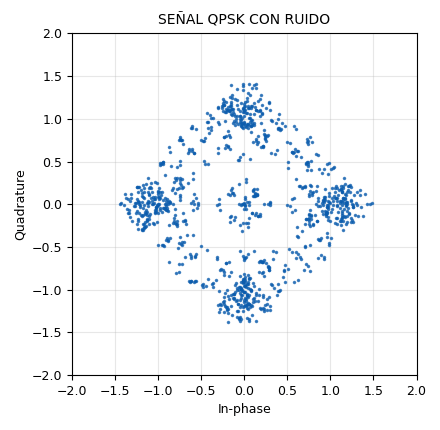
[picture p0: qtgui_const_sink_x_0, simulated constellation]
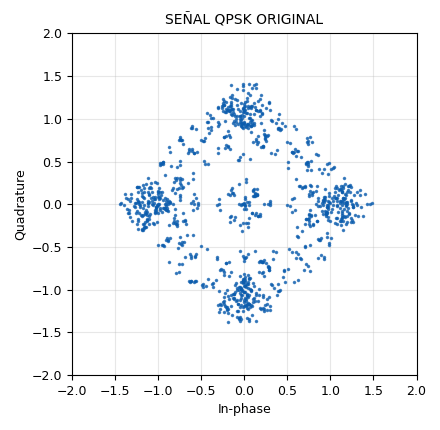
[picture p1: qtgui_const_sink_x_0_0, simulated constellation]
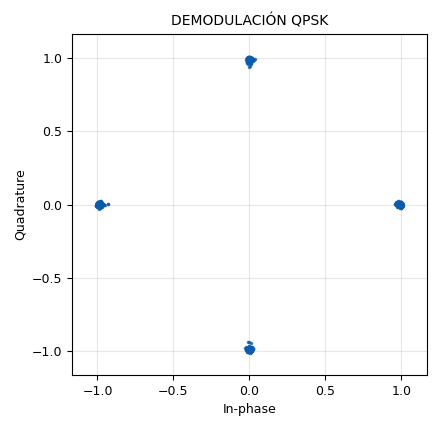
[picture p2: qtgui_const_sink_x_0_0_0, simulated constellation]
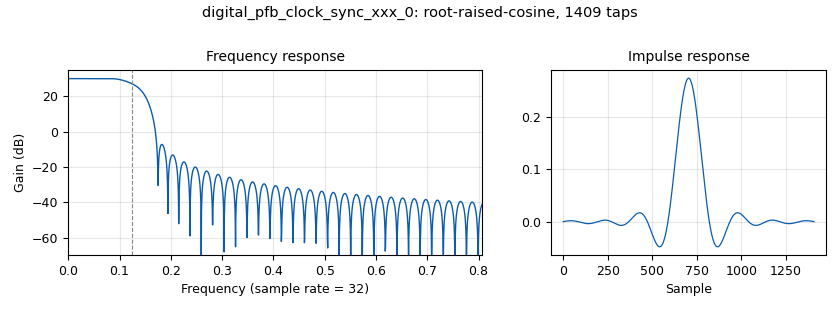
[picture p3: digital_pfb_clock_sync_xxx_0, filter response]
options:
  parameters:
    generate_options: qt_gui
    id: QPSK_o_4PSK
    output_language: python
    title: Not titled yet
  states: {}

blocks:
- name: freq_offset
  id: variable_qtgui_range
  parameters:
    label: freq offset
    start: '-100e-3'
    step: '1e-3'
    stop: '100e-3'
    value: '0'
  states: {}
- name: loop_bandwith
  id: variable_qtgui_range
  parameters:
    label: loop bandwith
    start: '0'
    step: '5e-3'
    stop: '200e-3'
    value: (2*math.pi)/100
  states: {}
- name: nfilts
  id: variable
  parameters:
    value: '32'
  states: {}
- name: noise_offset
  id: variable_qtgui_range
  parameters:
    label: noise offset
    start: '0'
    step: '10e-3'
    stop: '1'
    value: '100e-6'
  states: {}
- name: rrc_taps
  id: variable
  parameters:
    value: firdes.root_raised_cosine(nfilts, nfilts, 1.0/float(sps), 0.35, 11*sps*nfilts)
  states: {}
- name: samp_rate
  id: variable
  parameters:
    value: '32000'
  states: {}
- name: sps
  id: variable
  parameters:
    value: '4'
  states: {}
- name: taps
  id: variable
  parameters:
    value: '[1.0 + 0.0j, ]'
  states: {}
- name: time_offset
  id: variable_qtgui_range
  parameters:
    label: time offset
    start: '999e-3'
    step: '1e-6'
    stop: '1.001'
    value: '1'
  states: {}
- name: analog_random_source_x_0
  id: analog_random_source_x
  parameters:
    max: '256'
    min: '0'
    num_samps: '1000'
    repeat: 'True'
    type: byte
  states: {}
- name: blocks_throttle2_0
  id: blocks_throttle2
  parameters:
    samples_per_second: samp_rate
    type: complex
  states: {}
- name: channels_channel_model_0
  id: channels_channel_model
  parameters:
    epsilon: time_offset
    freq_offset: freq_offset
    noise_voltage: noise_offset
    seed: '0'
    taps: taps
  states: {}
- name: digital_pfb_clock_sync_xxx_0
  id: digital_pfb_clock_sync_xxx
  parameters:
    filter_size: '32'
    init_phase: '16'
    loop_bw: loop_bandwith
    max_dev: '1.5'
    osps: '1'
    sps: '4'
    taps: rrc_taps
    type: ccf
  states: {}
- name: digital_psk_mod_0
  id: digital_psk_mod
  parameters:
    constellation_points: '4'
    differential: 'False'
    excess_bw: '0.35'
    mod_code: '"gray"'
    samples_per_symbol: '4'
  states: {}
- name: import_0_0
  id: import
  parameters:
    imports: import math
  states: {}
- name: qtgui_const_sink_x_0
  id: qtgui_const_sink_x
  parameters:
    comment: SEÑAL PSK CON DISTORSION
    name: '"SEÑAL QPSK CON RUIDO"'
    size: '1024'
    type: complex
  states: {}
- name: qtgui_const_sink_x_0_0
  id: qtgui_const_sink_x
  parameters:
    comment: PSK IDEAL SIN RUIDO
    name: '"SEÑAL QPSK ORIGINAL"'
    size: '1024'
    type: complex
  states: {}
- name: qtgui_const_sink_x_0_0_0
  id: qtgui_const_sink_x
  parameters:
    autoscale: 'True'
    comment: PSK DEMODULADA
    name: '"DEMODULACIÓN QPSK"'
    size: '1024'
    type: complex
  states: {}
- name: virtual_sink_0
  id: virtual_sink
  parameters:
    stream_id: psk_mod
  states: {}
- name: virtual_source_0
  id: virtual_source
  parameters:
    stream_id: psk_mod
  states: {}

connections:
- [analog_random_source_x_0, '0', digital_psk_mod_0, '0']
- [blocks_throttle2_0, '0', channels_channel_model_0, '0']
- [blocks_throttle2_0, '0', qtgui_const_sink_x_0_0, '0']
- [channels_channel_model_0, '0', qtgui_const_sink_x_0, '0']
- [channels_channel_model_0, '0', virtual_sink_0, '0']
- [digital_pfb_clock_sync_xxx_0, '0', qtgui_const_sink_x_0_0_0, '0']
- [digital_psk_mod_0, '0', blocks_throttle2_0, '0']
- [virtual_source_0, '0', digital_pfb_clock_sync_xxx_0, '0']

metadata:
  file_format: 1
  grc_version: 3.10.8.0
